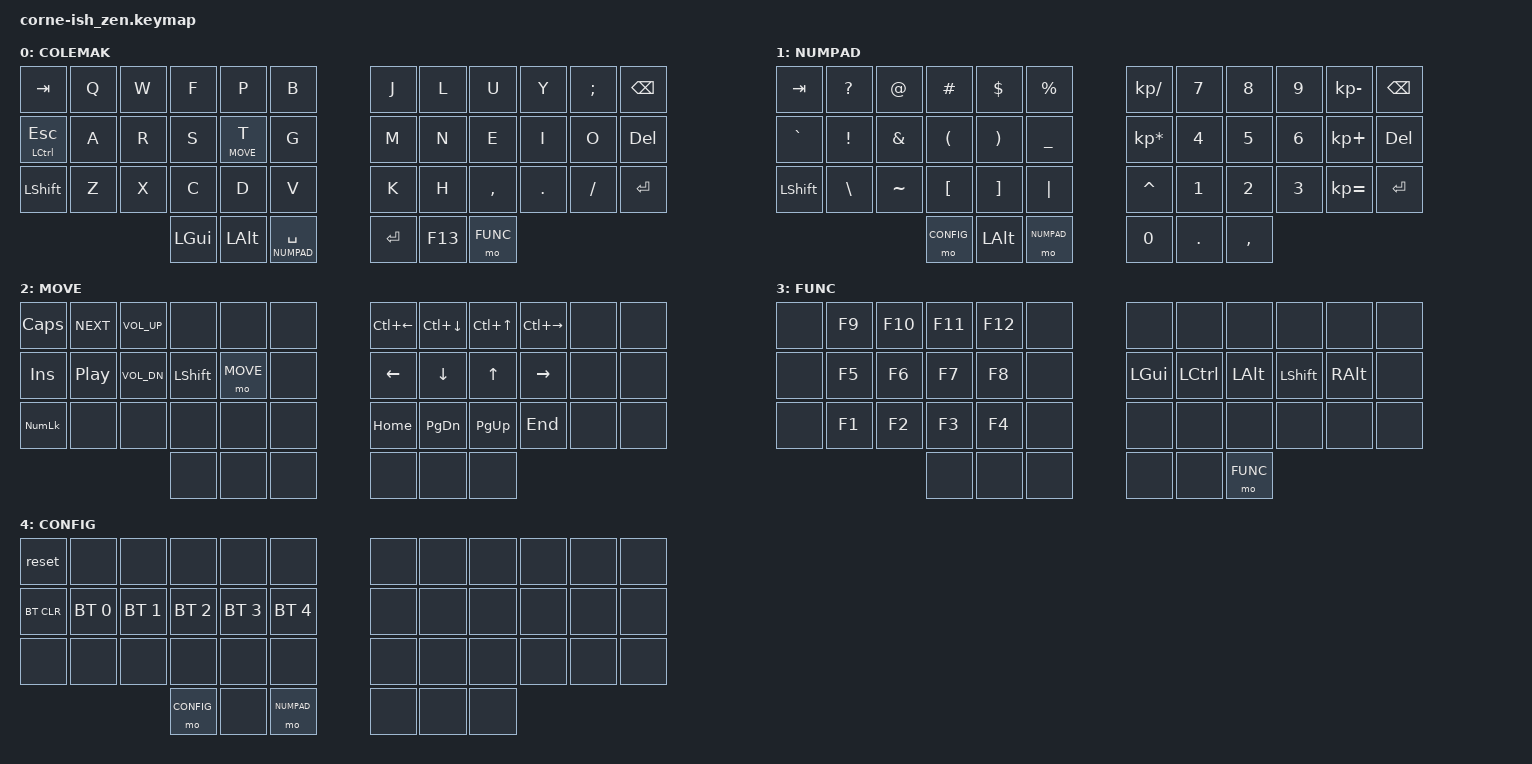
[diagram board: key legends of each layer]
/*
*
* Copyright (c) 2021 lowprokb.ca
* SPDX-License-Identifier: MIT
*
*/

#include <behaviors.dtsi>
#include <dt-bindings/zmk/keys.h>
#include <dt-bindings/zmk/bt.h>

#define COLEMAK 0
#define NUMPAD  1
#define MOVE    2
#define FUNC    3
#define CONFIG  4

/ {
    macros {
        degrees: degrees {
            label = "degrees";
            compatible = "zmk,behavior-macro";
            #binding-cells = <0>;
            bindings
                = <&macro_press &kp LALT>
                , <&macro_tap &kp KP_N0 &kp KP_N1 &kp KP_N7 &kp KP_N6>
                , <&macro_release &kp LALT>
                ;
        };
    };
};
/ {
    combos {
// -----------------------------------------------------------------------------------------
// |  TAB0|  Q1 |  W2 |  F3 |  P4 |  B5 |   |  J6 |  L7  |  U8 |  Y9 |  ;10| BKSP11|
// |CTRL12|  A13|  R14|  S15|  T16|  G17|   |  M18|  N19 |  E20|  I21|  O22| DEL23 |
// |SHFT24|  Z25|  X26|  C27|  D28|  V29|   |  K30|  H31 |  ,32|  .33|  /34| ENT35 |
//                    |GUI36|ALT37|SPC38|   |ENT39|F13 40|FUNC41|
        compatible = "zmk,combos";
        combo_eau {
            timeout-ms = <35>;
            key-positions = <8 9>;
            bindings = <&kp RA(W)>;
        };

        combo_ae {
            timeout-ms = <35>;
            key-positions = <20 21>;
            bindings = <&kp RA(Q)>;
        };

        combo_oe {
            timeout-ms = <35>;
            key-positions = <32 33>;
            bindings = <&kp RA(P)>;
        };
        combo_dquote {
            timeout-ms = <35>;
            key-positions = <7 8>;
            bindings = <&kp DQT>;
        };
        combo_quote {
            timeout-ms = <35>;
            key-positions = <19 20>;
            bindings = <&kp SQT>;
        };
        combo_tick {
            timeout-ms = <35>;
            key-positions = <31 32>;
            bindings = <&kp GRAVE>;
        };
        combo_degrees {
            timeout-ms = <35>;
            key-positions = <18 21>;
            bindings = <&degrees>;
        };
        combo_ass {
            timeout-ms = <35>;
            key-positions = <14 15>;
            bindings = <&kp LA(MINUS)>;
        };
        combo_pipe {
            timeout-ms = <35>;
            key-positions = <26 27>;
            bindings = <&kp LC(LS(M))>;
        };
        combo_comment {
            timeout-ms = <35>;
            key-positions = <2 3>;
            bindings = <&kp LC(LS(C))>;
        };
        combo_et {
            timeout-ms = <35>;
            key-positions = <9 20>;
            bindings = <&kp RA(E)>;
        };
        combo_micron {
            timeout-ms = <35>;
            key-positions = <9 18>;
            bindings = <&kp RA(M)>;
        };
    };
};

/ {
        keymap {
                compatible = "zmk,keymap";

                default_layer {
                        label = "COLEMAK";
// -----------------------------------------------------------------------------------------
// |  TAB |  Q  |  W  |  F  |  P  |  B  |   |  J  |  L   |  U  |  Y  |  ;  | BKSP |
// | CTRL |  A  |  R  |  S  |  T  |  G  |   |  M  |  N   |  E  |  I  |  O  | DEL  |
// | SHFT |  Z  |  X  |  C  |  D  |  V  |   |  K  |  H   |  ,  |  .  |  /  | ENT  |
//                    | GUI |LALT | SPC |   | ENT | F13  | FUNC|
                        bindings = <
   &kp TAB        &kp Q &kp W &kp F &kp P       &kp B        &kp J &kp L &kp U     &kp Y   &kp SEMI &kp BSPC
   &mt LCTRL ESC  &kp A &kp R &kp S &lt MOVE T  &kp G        &kp M &kp N &kp E     &kp I   &kp O    &kp DEL
   &kp LSHFT      &kp Z &kp X &kp C &kp D       &kp V        &kp K &kp H &kp COMMA &kp DOT &kp FSLH &kp ENTER
                   &kp LGUI &kp LALT &lt NUMPAD SPACE        &kp ENTER &kp F13 &mo FUNC 
                        >;
                };


                numpad_layer {
                        label = "NUMPAD";
// -----------------------------------------------------------------------------------------
// |  TAB |  ?  |  @  |  #  |  $  |  %  |   |  /  |  7   |  8  |  9  |  -  | BKSP |
// |  `   |  !  |  &  |  (  |  )  |  _  |   |  *  |  4   |  5  |  6  |  +  | DEL  |
// | SHFT |  \  |  ~  |  [  |  ]  |  |  |   |  ^  |  1   |  2  |  3  |  =  | ENT  |
//                    |CONF | LWR | SPC |   | ENT | RSE  | ALT |
                        bindings = < 
   &kp TAB     &kp QMARK &kp AT    &kp HASH &kp DLLR &kp PRCNT       &kp KP_SLASH    &kp N7 &kp N8 &kp N9 &kp KP_MINUS &kp BSPC
   &kp GRAVE   &kp EXCL  &kp AMPS  &kp LPAR &kp RPAR &kp UNDER       &kp KP_ASTERISK &kp N4 &kp N5 &kp N6 &kp KP_PLUS  &kp DEL
   &kp LSHFT   &kp BSLH  &kp TILDE &kp LBKT &kp RBKT &kp PIPE        &kp CARET       &kp N1 &kp N2 &kp N3 &kp KP_EQUAL &kp ENTER
                              &mo CONFIG &kp LALT &mo NUMPAD         &kp N0 &kp DOT &kp COMMA
                        >;
                };

                move_layer {
                        label = "MOVE";
// -----------------------------------------------------------------------------------------
// | CAPS | NEXT| Vol+|     |     |     |   |CLEFT|CDOWN | CUP  |CRIGHT|     |      |
// | INS  | PLAY| Vol-|Shift| MOVE|     |   | LEFT| DOWN |  UP  | RIGHT|     |      |
// | NLCK |     |     |     |     |     |   | HOME| PGDN | PGUP | END  |     |      |
//                    |     |     |     |   |     |      |      |
                        bindings = <
   &kp CAPS    &kp C_NEXT &kp C_VOL_UP  &none     &none     &none        &kp LC(LEFT)   &kp LC(DOWN)   &kp LC(UP) &kp LC(RIGHT) &none  &none
   &kp INS     &kp C_PP   &kp C_VOL_DN  &kp LSHFT &mo MOVE  &none        &kp LEFT       &kp DOWN       &kp UP     &kp RIGHT     &none  &none
   &kp KP_NLCK &none      &none         &none     &none     &none        &kp HOME       &kp PG_DN      &kp PG_UP  &kp END       &none  &none 
                                                &none &none &none        &none &none &none
                        >;
                };

                func_layer {
                        label = "FUNC";
// -----------------------------------------------------------------------------------------
// |      | F9  | F10 | F11 | F12 |     |   |     |      |      |      |     |      |
// |      | F5  | F7  | F8  | F9  |     |   | LGUI|LCTRL | LALT |LSHIFT|RALT |      |
// |      | F1  | F2  | F2  | F3  |     |   |     |      |      |      |     |      |
//                    |     |     |     |   |     |      |      |
                        bindings = <
   &none   &kp F9  &kp F10  &kp F11   &kp F12 &none       &none    &none    &none     &none     &none    &none 
   &none   &kp F5  &kp F6   &kp F7    &kp F8  &none       &kp LGUI &kp LCTRL &kp LALT  &kp LSHFT &kp RALT &none   
   &none   &kp F1  &kp F2   &kp F3    &kp F4  &none       &none    &none    &none     &none     &none    &none
                                &none  &none  &none       &none    &none    &mo FUNC
                        >;
                };

                config_layer {
                        label = "CONFIG";
// -----------------------------------------------------------------------------------------
// |      |     |     |     |     |     |   |     |      |      |      |     |      |
// |BT CLR| BT0 | BT1 | BT2 | BT3 | BT4 |   |     |      |      |      |     |      |
// |      |     |     |     |     |     |   |     |      |      |      |     |      |
//                    |     |     |     |   |     |      |      |
                        bindings = <
   &reset     &none        &none        &none        &none        &none           &none &none   &none &none &none &none 
   &bt BT_CLR &bt BT_SEL 0 &bt BT_SEL 1 &bt BT_SEL 2 &bt BT_SEL 3 &bt BT_SEL 4    &none &none   &none &none &none &none
   &none      &none        &none        &none        &none        &none           &none &none   &none &none &none &none
                                                &mo CONFIG &none  &mo NUMPAD      &none  &none  &none 
                        >;
                };
        };
};
